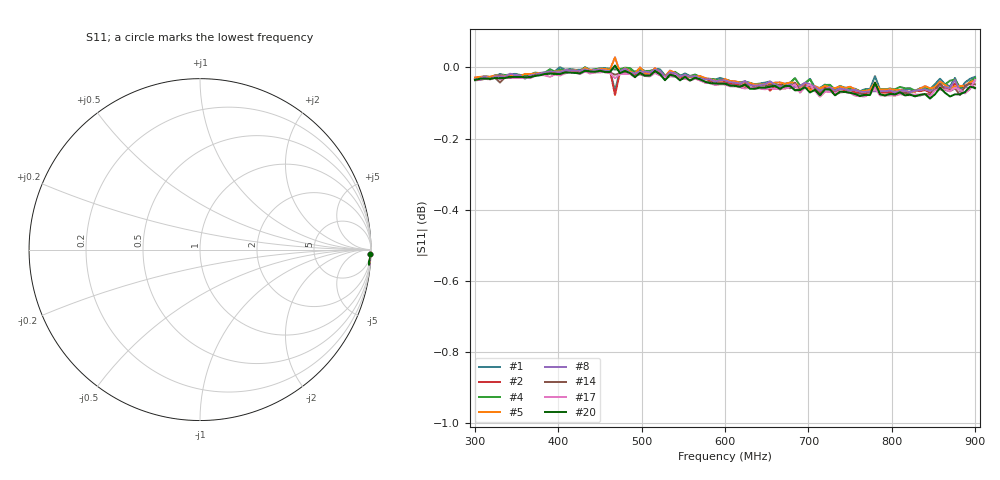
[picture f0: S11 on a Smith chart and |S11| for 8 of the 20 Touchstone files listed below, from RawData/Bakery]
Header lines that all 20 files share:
# HZ S RI R 50
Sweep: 300 MHz to 900 MHz
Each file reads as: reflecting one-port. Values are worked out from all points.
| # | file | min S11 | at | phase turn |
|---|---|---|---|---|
| 1 | B_2_1.s1p | -0.1 dB | 828 MHz | -3 deg |
| 2 | B_2_2.s1p | -0.1 dB | 468 MHz | -3 deg |
| 3 | B_2_3.s1p | -0.1 dB | 756 MHz | -3 deg |
| 4 | B_2_4.s1p | -0.1 dB | 762 MHz | -3 deg |
| 5 | B_2_5.s1p | -0.1 dB | 822 MHz | -3 deg |
| 6 | B_2_6.s1p | -0.1 dB | 468 MHz | -3 deg |
| 7 | B_2_7.s1p | -0.1 dB | 882 MHz | -3 deg |
| 8 | B_2_8.s1p | -0.1 dB | 804 MHz | -3 deg |
| 9 | B_2_9.s1p | -0.1 dB | 828 MHz | -3 deg |
| 10 | B_2_10.s1p | -0.1 dB | 828 MHz | -3 deg |
| 11 | B_3_1.s1p | -0.1 dB | 828 MHz | -3 deg |
| 12 | B_3_2.s1p | -0.1 dB | 828 MHz | -3 deg |
| 13 | B_3_3.s1p | -0.1 dB | 756 MHz | -3 deg |
| 14 | B_3_4.s1p | -0.1 dB | 834 MHz | -3 deg |
| 15 | B_3_5.s1p | -0.1 dB | 846 MHz | -3 deg |
| 16 | B_3_6.s1p | -0.1 dB | 822 MHz | -3 deg |
| 17 | B_3_7.s1p | -0.1 dB | 714 MHz | -3 deg |
| 18 | B_3_8.s1p | -0.1 dB | 828 MHz | -3 deg |
| 19 | B_3_9.s1p | -0.1 dB | 882 MHz | -4 deg |
| 20 | B_3_10.s1p | -0.1 dB | 846 MHz | -4 deg |
